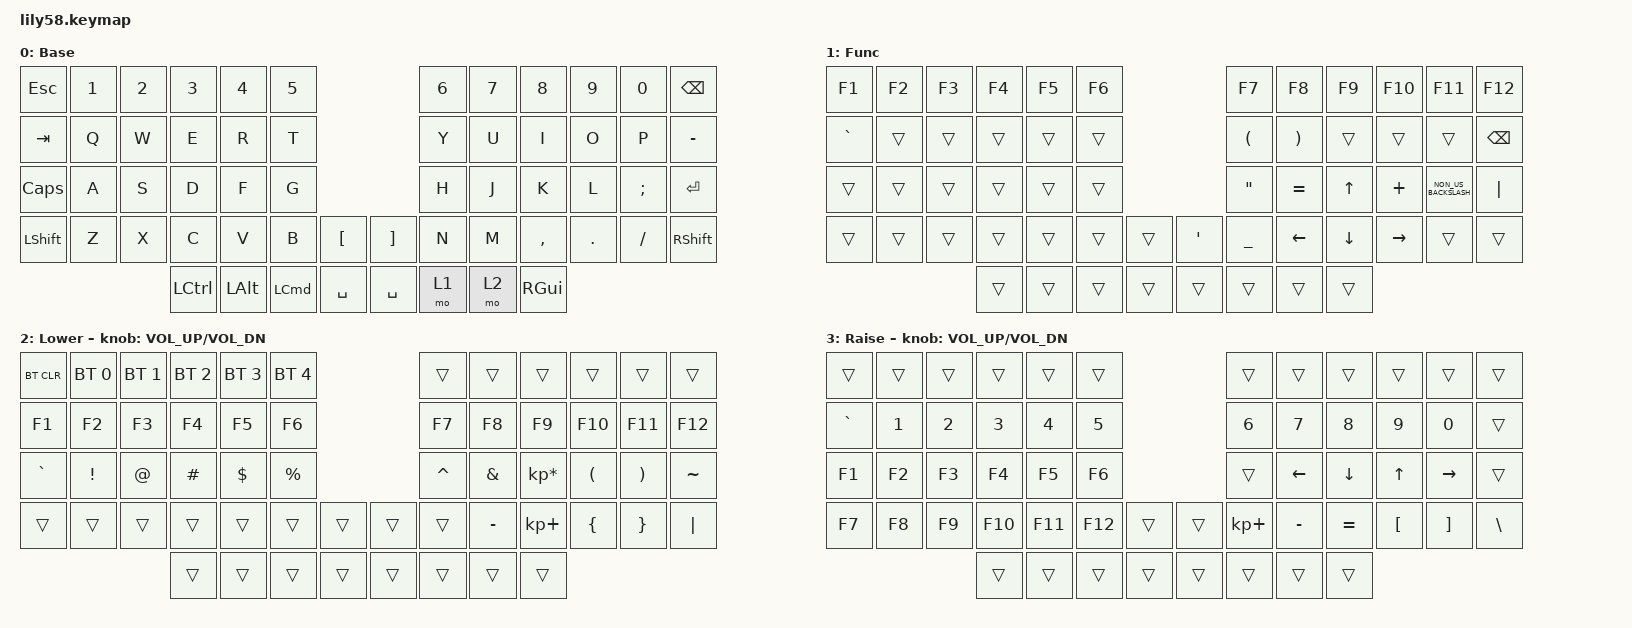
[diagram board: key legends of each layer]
/*
 * Copyright (c) 2020 The ZMK Contributors
 *
 * SPDX-License-Identifier: MIT
 */

#include <behaviors.dtsi>
#include <dt-bindings/zmk/bt.h>
#include <dt-bindings/zmk/keys.h>

/ {
    keymap {
        compatible = "zmk,keymap";

        default_layer {
            // ------------------------------------------------------------------------------------------------------------
            // |  ESC  |  1  |  2  |  3   |  4   |  5   |                   |  6   |  7    |  8    |  9   |   0   |   `   |
            // |  TAB  |  Q  |  W  |  E   |  R   |  T   |                   |  Y   |  U    |  I    |  O   |   P   |   -   |
            // |  CTRL |  A  |  S  |  D   |  F   |  G   |                   |  H   |  J    |  K    |  L   |   ;   |   '   |
            // | SHIFT |  Z  |  X  |  C   |  V   |  B   |   "["  |  |  "]"  |  N   |  M    |  ,    |  .   |   /   | SHIFT |
            //                     | ALT  | GUI  | LOWER|  SPACE |  | ENTER | RAISE| BSPC  | GUI   |

            display-name = "Base";
            bindings = <
&kp ESC       &kp N1  &kp N2  &kp N3            &kp N4        &kp N5                                    &kp N6  &kp N7  &kp N8     &kp N9   &kp N0    &kp BACKSPACE
&kp TAB       &kp Q   &kp W   &kp E             &kp R         &kp T                                     &kp Y   &kp U   &kp I      &kp O    &kp P     &kp MINUS
&kp CAPSLOCK  &kp A   &kp S   &kp D             &kp F         &kp G                                     &kp H   &kp J   &kp K      &kp L    &kp SEMI  &kp ENTER
&kp LSHFT     &kp Z   &kp X   &kp C             &kp V         &kp B             &kp LBKT     &kp RBKT   &kp N   &kp M   &kp COMMA  &kp DOT  &kp FSLH  &kp RSHFT
                              &kp LEFT_CONTROL  &kp LEFT_ALT  &kp LEFT_COMMAND  &kp SPACE    &kp SPACE  &mo 1   &mo 2   &kp RGUI
            >;
        };

        Func {
            bindings = <
&kp F1     &kp F2  &kp F3  &kp F4  &kp F5  &kp F6                     &kp F7                &kp F8                 &kp F9        &kp F10    &kp F11               &kp F12
&kp GRAVE  &trans  &trans  &trans  &trans  &trans                     &kp LEFT_PARENTHESIS  &kp RIGHT_PARENTHESIS  &trans        &trans     &trans                &kp BACKSPACE
&trans     &trans  &trans  &trans  &trans  &trans                     &kp DOUBLE_QUOTES     &kp EQUAL              &kp UP_ARROW  &kp PLUS   &kp NON_US_BACKSLASH  &kp PIPE
&trans     &trans  &trans  &trans  &trans  &trans  &trans    &kp SQT  &kp UNDERSCORE        &kp LEFT               &kp DOWN      &kp RIGHT  &trans                &trans
                           &trans  &trans  &trans  &trans    &trans   &trans                &trans                 &trans
            >;
        };

        lower_layer {
            // ------------------------------------------------------------------------------------------------------------
            // | BTCLR | BT1 | BT2 |  BT3 |  BT4 |  BT5 |                   |      |       |       |      |       |       |
            // |  F1   |  F2 |  F3 |  F4  |  F5  |  F6  |                   |  F7  |  F8   |  F9   |  F10 |  F11  |  F12  |
            // |   `   |  !  |  @  |  #   |  $   |  %   |                   |  ^   |  &    |  *    |  (   |   )   |   ~   |
            // |       |     |     |      |      |      |        |  |       |      |  _    |  +    |  {   |   }   |  "|"  |
            //                     |      |      |      |        |  |       |      |       |       |

            display-name = "Lower";
            bindings = <
&bt BT_CLR  &bt BT_SEL 0  &bt BT_SEL 1  &bt BT_SEL 2  &bt BT_SEL 3  &bt BT_SEL 4                    &trans     &trans     &trans           &trans    &trans    &trans
&kp F1      &kp F2        &kp F3        &kp F4        &kp F5        &kp F6                          &kp F7     &kp F8     &kp F9           &kp F10   &kp F11   &kp F12
&kp GRAVE   &kp EXCL      &kp AT        &kp HASH      &kp DOLLAR    &kp PRCNT                       &kp CARET  &kp AMPS   &kp KP_MULTIPLY  &kp LPAR  &kp RPAR  &kp TILDE
&trans      &trans        &trans        &trans        &trans        &trans        &trans    &trans  &trans     &kp MINUS  &kp KP_PLUS      &kp LBRC  &kp RBRC  &kp PIPE
                                        &trans        &trans        &trans        &trans    &trans  &trans     &trans     &trans
            >;

            sensor-bindings = <&inc_dec_kp C_VOL_UP C_VOL_DN>;
        };

        raise_layer {
            // ------------------------------------------------------------------------------------------------------------
            // |       |     |     |      |      |      |                   |      |       |       |      |       |       |
            // |   `   |  1  |  2  |  3   |  4   |  5   |                   |  6   |   7   |   8   |  9   |   0   |       |
            // |   F1  |  F2 |  F3 |  F4  |  F5  |  F6  |                   |      |   <-  |   v   |  ^   |  ->   |       |
            // |   F7  |  F8 |  F9 |  F10 |  F11 |  F12 |        |  |       |  +   |   -   |   =   |  [   |   ]   |   \   |
            //                     |      |      |      |        |  |       |      |       |       |

            display-name = "Raise";
            bindings = <
&trans     &trans  &trans  &trans   &trans   &trans                     &trans       &trans     &trans     &trans    &trans     &trans
&kp GRAVE  &kp N1  &kp N2  &kp N3   &kp N4   &kp N5                     &kp N6       &kp N7     &kp N8     &kp N9    &kp N0     &trans
&kp F1     &kp F2  &kp F3  &kp F4   &kp F5   &kp F6                     &trans       &kp LEFT   &kp DOWN   &kp UP    &kp RIGHT  &trans
&kp F7     &kp F8  &kp F9  &kp F10  &kp F11  &kp F12  &trans    &trans  &kp KP_PLUS  &kp MINUS  &kp EQUAL  &kp LBKT  &kp RBKT   &kp BSLH
                           &trans   &trans   &trans   &trans    &trans  &trans       &trans     &trans
            >;

            sensor-bindings = <&inc_dec_kp C_VOL_UP C_VOL_DN>;
        };

        extra_1 { status = "reserved"; };

        extra_2 { status = "reserved"; };

        extra_3 { status = "reserved"; };
    };
};
